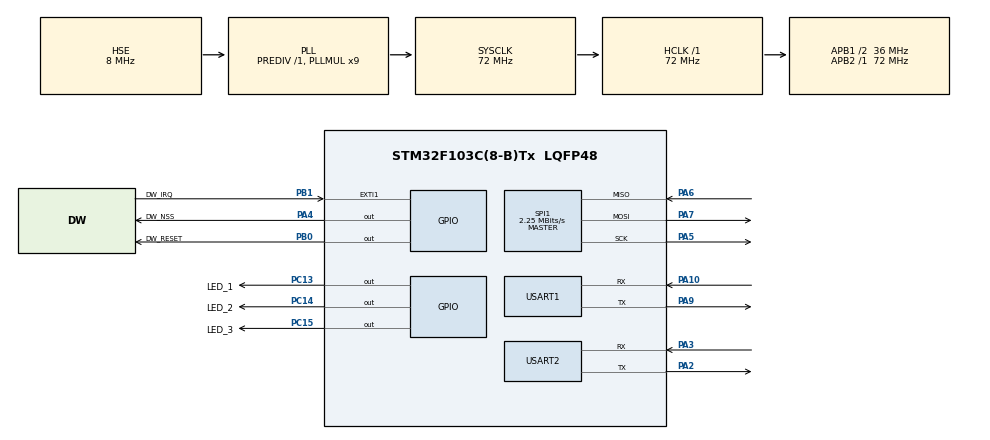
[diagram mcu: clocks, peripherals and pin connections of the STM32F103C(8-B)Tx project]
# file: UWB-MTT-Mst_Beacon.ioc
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Dma.Request0=USART1_TX
Dma.Request1=USART2_TX
Dma.USART1_TX.0.Direction=DMA_MEMORY_TO_PERIPH
Dma.USART1_TX.0.Instance=DMA1_Channel4
Dma.USART1_TX.0.MemDataAlignment=DMA_MDATAALIGN_BYTE
Dma.USART1_TX.0.MemInc=DMA_MINC_ENABLE
Dma.USART1_TX.0.Mode=DMA_NORMAL
Dma.USART1_TX.0.PeriphDataAlignment=DMA_PDATAALIGN_BYTE
Dma.USART1_TX.0.PeriphInc=DMA_PINC_DISABLE
Dma.USART1_TX.0.Priority=DMA_PRIORITY_LOW
Dma.USART2_TX.1.Direction=DMA_MEMORY_TO_PERIPH
Dma.USART2_TX.1.Instance=DMA1_Channel7
Dma.USART2_TX.1.MemDataAlignment=DMA_MDATAALIGN_BYTE
Dma.USART2_TX.1.MemInc=DMA_MINC_ENABLE
Dma.USART2_TX.1.Mode=DMA_NORMAL
Dma.USART2_TX.1.PeriphDataAlignment=DMA_PDATAALIGN_BYTE
Dma.USART2_TX.1.PeriphInc=DMA_PINC_DISABLE
Dma.USART2_TX.1.Priority=DMA_PRIORITY_MEDIUM
Mcu.Family=STM32F1
Mcu.Name=STM32F103C(8-B)Tx
Mcu.Package=LQFP48
NVIC.DMA1_Channel4_IRQn=true\:0\:0\:false\:false\:true\:false\:true\:true
NVIC.DMA1_Channel7_IRQn=true\:0\:0\:false\:false\:true\:false\:true\:true
NVIC.EXTI1_IRQn=true\:5\:0\:true\:false\:true\:true\:true\:true
NVIC.PriorityGroup=NVIC_PRIORITYGROUP_4
NVIC.USART1_IRQn=true\:0\:0\:false\:false\:true\:true\:true\:true
NVIC.USART2_IRQn=true\:0\:0\:false\:false\:true\:true\:true\:true
PA10.Mode=Asynchronous
PA10.Signal=USART1_RX
PA2.Mode=Asynchronous
PA2.Signal=USART2_TX
PA3.Mode=Asynchronous
PA3.Signal=USART2_RX
PA4.GPIO_Label=DW_NSS
PA4.PinState=GPIO_PIN_SET
PA4.Signal=GPIO_Output
PA5.Mode=Full_Duplex_Master
PA5.Signal=SPI1_SCK
PA6.Mode=Full_Duplex_Master
PA6.Signal=SPI1_MISO
PA7.Mode=Full_Duplex_Master
PA7.Signal=SPI1_MOSI
PA9.Mode=Asynchronous
PA9.Signal=USART1_TX
PB0.GPIO_Label=DW_RESET
PB0.GPIO_ModeDefaultOutputPP=GPIO_MODE_OUTPUT_OD
PB0.GPIO_PuPd=GPIO_NOPULL
PB0.PinState=GPIO_PIN_SET
PB0.Signal=GPIO_Output
PB1.GPIO_Label=DW_IRQ
PB1.GPIO_ModeDefaultEXTI=GPIO_MODE_IT_RISING
PB1.Signal=GPXTI1
PC13-TAMPER-RTC.GPIO_Label=LED_1
PC13-TAMPER-RTC.Signal=GPIO_Output
PC14-OSC32_IN.GPIO_Label=LED_2
PC14-OSC32_IN.Signal=GPIO_Output
PC15-OSC32_OUT.GPIO_Label=LED_3
PC15-OSC32_OUT.Signal=GPIO_Output
PD0-OSC_IN.Mode=HSE-External-Oscillator
PD0-OSC_IN.Signal=RCC_OSC_IN
PD1-OSC_OUT.Mode=HSE-External-Oscillator
PD1-OSC_OUT.Signal=RCC_OSC_OUT
ProjectManager.HeapSize=0x200
ProjectManager.StackSize=0x400
ProjectManager.TargetToolchain=STM32CubeIDE
RCC.AHBFreq_Value=72000000
RCC.APB1CLKDivider=RCC_HCLK_DIV2
RCC.APB1Freq_Value=36000000
RCC.APB1TimFreq_Value=72000000
RCC.APB2Freq_Value=72000000
RCC.APB2TimFreq_Value=72000000
RCC.HCLKFreq_Value=72000000
RCC.PLLMUL=RCC_PLL_MUL9
RCC.PLLSourceVirtual=RCC_PLLSOURCE_HSE
RCC.SYSCLKFreq_VALUE=72000000
RCC.SYSCLKSource=RCC_SYSCLKSOURCE_PLLCLK
RCC.USBFreq_Value=72000000
SPI1.BaudRatePrescaler=SPI_BAUDRATEPRESCALER_32
SPI1.CalculateBaudRate=2.25 MBits/s
SPI1.Direction=SPI_DIRECTION_2LINES
SPI1.Mode=SPI_MODE_MASTER
SPI1.VirtualType=VM_MASTER
TIM2.AutoReloadPreload=TIM_AUTORELOAD_PRELOAD_ENABLE
TIM2.Prescaler=71
USART1.VirtualMode=VM_ASYNC
USART2.VirtualMode=VM_ASYNC
VP_SYS_VS_ND.Mode=No_Debug
VP_TIM2_VS_ClockSourceINT.Mode=Internal
board=custom

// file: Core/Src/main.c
/* USER CODE BEGIN Header */
/**
  ******************************************************************************
  * @file           : main.c
  * @brief          : Main program body
  ******************************************************************************
  * @attention
  *
  * Copyright (c) 2026 STMicroelectronics.
  * All rights reserved.
  *
  * This software is licensed under terms that can be found in the LICENSE file
  * in the root directory of this software component.
  * If no LICENSE file comes with this software, it is provided AS-IS.
  *
  ******************************************************************************
  */
/* USER CODE END Header */
#include "main.h"

/* USER CODE BEGIN Includes */
#include "uwb_app.h"

/* USER CODE END Includes */

SPI_HandleTypeDef hspi1;

TIM_HandleTypeDef htim2;

UART_HandleTypeDef huart1;
UART_HandleTypeDef huart2;
DMA_HandleTypeDef hdma_usart1_tx;
DMA_HandleTypeDef hdma_usart2_tx;

void SystemClock_Config(void);
static void MX_GPIO_Init(void);
static void MX_DMA_Init(void);
static void MX_SPI1_Init(void);
static void MX_USART2_UART_Init(void);
static void MX_USART1_UART_Init(void);
static void MX_TIM2_Init(void);

/* USER CODE BEGIN 0 */

/*------------------------------------------------------------------------
 * @brief: 	UWB RX good frame event callback function
 * @param:
			*cb_data: Pointer to callback data
 -----------------------------------------------------------------------*/
void rx_ok_cb(const dwt_cb_data_t *cb_data) {

	uint32_t frame_len = cb_data->datalength;

	if (frame_len > sizeof(uwb_msg_frame_t)) {
		dwt_rxenable(DWT_START_RX_IMMEDIATE | DWT_NO_SYNC_PTRS);
		return;
	}

	uint8_t rx_buffer[64];
	dwt_readrxdata(rx_buffer, frame_len, 0);
	uwb_msg_frame_t *rx_frame = (uwb_msg_frame_t *)rx_buffer;
	uint8_t func_code = rx_frame->payload[0];

	#if (CURRENT_NODE_TYPE == TYPE_TAG)
		tag_rx_handler(rx_frame, func_code);
	#elif (CURRENT_NODE_TYPE == TYPE_SLAVE)
		slv_rx_handler(rx_frame, func_code);
	#elif (CURRENT_NODE_TYPE == TYPE_MASTER)
		mst_rx_handler(rx_frame, func_code);
	#endif
}

/*------------------------------------------------------------------------
 * @brief: 	UWB RX timeout/RX error callback function
 * @param:
			*cb_data: Pointer to callback data
 -----------------------------------------------------------------------*/
void rx_err_cb(const dwt_cb_data_t *cb_data) {
	// Clear the error flags
	dwt_write32bitreg(SYS_STATUS_ID, SYS_STATUS_ALL_RX_ERR);
	dwt_write32bitreg(SYS_STATUS_ID, SYS_STATUS_ALL_RX_TO);
    // Reset RX
	dwt_forcetrxoff();
	dwt_rxreset();
    dwt_rxenable(DWT_START_RX_IMMEDIATE);
}
/* USER CODE END 0 */

int main(void)
{

  /* MCU Configuration--------------------------------------------------------*/

  /* Reset of all peripherals, Initializes the Flash interface and the Systick. */
  HAL_Init();

  /* Configure the system clock */
  SystemClock_Config();

  /* Initialize all configured peripherals */
  MX_GPIO_Init();
  MX_DMA_Init();
  MX_SPI1_Init();
  MX_USART2_UART_Init();
  MX_USART1_UART_Init();
  MX_TIM2_Init();
  /* USER CODE BEGIN 2 */

  // Initialise Timer 2
  HAL_TIM_Base_Start(&htim2);

  Reset_DW1000();

  char msg_buffer[100];

  // Set hspi1 clock to 2.25MHz -> Safety DW1000 init (User manual)
  port_set_dw1000_slowrate(&hspi1);

  if (dwt_initialise(DWT_LOADUCODE) == DWT_SUCCESS){
	  // Init OK
	  sprintf(msg_buffer, "INIT OK! Device ID: 0x%08lX\r\n", dwt_readdevid());
	  debug_print(msg_buffer);
  } else {
	  // Init Fail
	  sprintf(msg_buffer, "INIT FAILED! Device ID: 0x%08lX\r\n", dwt_readdevid());
	  debug_print(msg_buffer);

	  while(1) {
		  HAL_GPIO_TogglePin(GPIOC, GPIO_PIN_13); // Error Blinky
		  HAL_Delay(500);
	  }
  }

  // Set hspi1 clock to 18MHz
  port_set_dw1000_fastrate(&hspi1);

  // Configure DW1000 Hardware and RF transceiver
  dwt_configure(&uwb_cfg.config);
  dwt_configuretxrf(&uwb_cfg.tx_config);

  dwt_setrxantennadelay(uwb_cfg.ant_dly_rx);
  dwt_settxantennadelay(uwb_cfg.ant_dly_tx);

  // Delay POLL_TX_TO_RESP_RX_DLY_UUS between frames
  dwt_setrxaftertxdelay(POLL_TX_TO_RESP_RX_DLY_UUS);
//  dwt_setrxaftertxdelay(0);

  // Setup DW1000 RX Callback
  dwt_setcallbacks(NULL, rx_ok_cb, rx_err_cb, rx_err_cb);
  dwt_setinterrupt(DWT_INT_RFCG | DWT_INT_RPHE | DWT_INT_RFCE | DWT_INT_RFSL | DWT_INT_SFDT, 1);
  dwt_setrxtimeout(0);

  // Node Initialization
	#if (CURRENT_NODE_TYPE == TYPE_TAG)
	#elif (CURRENT_NODE_TYPE == TYPE_SLAVE)
		slv_beacon_init();
	#elif (CURRENT_NODE_TYPE == TYPE_MASTER)
		mst_beacon_init();
	#endif

  /* USER CODE END 2 */

  /* Infinite loop */
  /* USER CODE BEGIN WHILE */
  while (1)
  {
	#if (CURRENT_NODE_TYPE == TYPE_TAG)
        tag_loop();
	#elif (CURRENT_NODE_TYPE == TYPE_SLAVE)
	   	slv_beacon_loop();
	#elif (CURRENT_NODE_TYPE == TYPE_MASTER)
		mst_beacon_loop();
	#endif

    /* USER CODE END WHILE */

  }
}

void SystemClock_Config(void)
{
  RCC_OscInitTypeDef RCC_OscInitStruct = {0};
  RCC_ClkInitTypeDef RCC_ClkInitStruct = {0};

  /** Initializes the RCC Oscillators according to the specified parameters
  * in the RCC_OscInitTypeDef structure.
  */
  RCC_OscInitStruct.OscillatorType = RCC_OSCILLATORTYPE_HSE;
  RCC_OscInitStruct.HSEState = RCC_HSE_ON;
  RCC_OscInitStruct.HSEPredivValue = RCC_HSE_PREDIV_DIV1;
  RCC_OscInitStruct.HSIState = RCC_HSI_ON;
  RCC_OscInitStruct.PLL.PLLState = RCC_PLL_ON;
  RCC_OscInitStruct.PLL.PLLSource = RCC_PLLSOURCE_HSE;
  RCC_OscInitStruct.PLL.PLLMUL = RCC_PLL_MUL9;
  if (HAL_RCC_OscConfig(&RCC_OscInitStruct) != HAL_OK)
  {
    Error_Handler();
  }

  /** Initializes the CPU, AHB and APB buses clocks
  */
  RCC_ClkInitStruct.ClockType = RCC_CLOCKTYPE_HCLK|RCC_CLOCKTYPE_SYSCLK
                              |RCC_CLOCKTYPE_PCLK1|RCC_CLOCKTYPE_PCLK2;
  RCC_ClkInitStruct.SYSCLKSource = RCC_SYSCLKSOURCE_PLLCLK;
  RCC_ClkInitStruct.AHBCLKDivider = RCC_SYSCLK_DIV1;
  RCC_ClkInitStruct.APB1CLKDivider = RCC_HCLK_DIV2;
  RCC_ClkInitStruct.APB2CLKDivider = RCC_HCLK_DIV1;

  if (HAL_RCC_ClockConfig(&RCC_ClkInitStruct, FLASH_LATENCY_2) != HAL_OK)
  {
    Error_Handler();
  }
}

static void MX_SPI1_Init(void)
{

  /* SPI1 parameter configuration*/
  hspi1.Instance = SPI1;
  hspi1.Init.Mode = SPI_MODE_MASTER;
  hspi1.Init.Direction = SPI_DIRECTION_2LINES;
  hspi1.Init.DataSize = SPI_DATASIZE_8BIT;
  hspi1.Init.CLKPolarity = SPI_POLARITY_LOW;
  hspi1.Init.CLKPhase = SPI_PHASE_1EDGE;
  hspi1.Init.NSS = SPI_NSS_SOFT;
  hspi1.Init.BaudRatePrescaler = SPI_BAUDRATEPRESCALER_32;
  hspi1.Init.FirstBit = SPI_FIRSTBIT_MSB;
  hspi1.Init.TIMode = SPI_TIMODE_DISABLE;
  hspi1.Init.CRCCalculation = SPI_CRCCALCULATION_DISABLE;
  hspi1.Init.CRCPolynomial = 10;
  if (HAL_SPI_Init(&hspi1) != HAL_OK)
  {
    Error_Handler();
  }

}

static void MX_TIM2_Init(void)
{

  TIM_ClockConfigTypeDef sClockSourceConfig = {0};
  TIM_MasterConfigTypeDef sMasterConfig = {0};

  htim2.Instance = TIM2;
  htim2.Init.Prescaler = 71;
  htim2.Init.CounterMode = TIM_COUNTERMODE_UP;
  htim2.Init.Period = 65535;
  htim2.Init.ClockDivision = TIM_CLOCKDIVISION_DIV1;
  htim2.Init.AutoReloadPreload = TIM_AUTORELOAD_PRELOAD_ENABLE;
  if (HAL_TIM_Base_Init(&htim2) != HAL_OK)
  {
    Error_Handler();
  }
  sClockSourceConfig.ClockSource = TIM_CLOCKSOURCE_INTERNAL;
  if (HAL_TIM_ConfigClockSource(&htim2, &sClockSourceConfig) != HAL_OK)
  {
    Error_Handler();
  }
  sMasterConfig.MasterOutputTrigger = TIM_TRGO_RESET;
  sMasterConfig.MasterSlaveMode = TIM_MASTERSLAVEMODE_DISABLE;
  if (HAL_TIMEx_MasterConfigSynchronization(&htim2, &sMasterConfig) != HAL_OK)
  {
    Error_Handler();
  }

}

static void MX_USART1_UART_Init(void)
{

  huart1.Instance = USART1;
  huart1.Init.BaudRate = 115200;
  huart1.Init.WordLength = UART_WORDLENGTH_8B;
  huart1.Init.StopBits = UART_STOPBITS_1;
  huart1.Init.Parity = UART_PARITY_NONE;
  huart1.Init.Mode = UART_MODE_TX_RX;
  huart1.Init.HwFlowCtl = UART_HWCONTROL_NONE;
  huart1.Init.OverSampling = UART_OVERSAMPLING_16;
  if (HAL_UART_Init(&huart1) != HAL_OK)
  {
    Error_Handler();
  }

}

static void MX_USART2_UART_Init(void)
{

  huart2.Instance = USART2;
  huart2.Init.BaudRate = 115200;
  huart2.Init.WordLength = UART_WORDLENGTH_8B;
  huart2.Init.StopBits = UART_STOPBITS_1;
  huart2.Init.Parity = UART_PARITY_NONE;
  huart2.Init.Mode = UART_MODE_TX_RX;
  huart2.Init.HwFlowCtl = UART_HWCONTROL_NONE;
  huart2.Init.OverSampling = UART_OVERSAMPLING_16;
  if (HAL_UART_Init(&huart2) != HAL_OK)
  {
    Error_Handler();
  }

}

static void MX_DMA_Init(void)
{

  /* DMA controller clock enable */
  __HAL_RCC_DMA1_CLK_ENABLE();

  /* DMA interrupt init */
  /* DMA1_Channel4_IRQn interrupt configuration */
  HAL_NVIC_SetPriority(DMA1_Channel4_IRQn, 0, 0);
  HAL_NVIC_EnableIRQ(DMA1_Channel4_IRQn);
  /* DMA1_Channel7_IRQn interrupt configuration */
  HAL_NVIC_SetPriority(DMA1_Channel7_IRQn, 0, 0);
  HAL_NVIC_EnableIRQ(DMA1_Channel7_IRQn);

}

static void MX_GPIO_Init(void)
{
  GPIO_InitTypeDef GPIO_InitStruct = {0};

  /* GPIO Ports Clock Enable */
  __HAL_RCC_GPIOC_CLK_ENABLE();
  __HAL_RCC_GPIOD_CLK_ENABLE();
  __HAL_RCC_GPIOA_CLK_ENABLE();
  __HAL_RCC_GPIOB_CLK_ENABLE();

  /*Configure GPIO pin Output Level */
  HAL_GPIO_WritePin(GPIOC, LED_1_Pin|LED_2_Pin|LED_3_Pin, GPIO_PIN_RESET);

  /*Configure GPIO pin Output Level */
  HAL_GPIO_WritePin(DW_NSS_GPIO_Port, DW_NSS_Pin, GPIO_PIN_SET);

  /*Configure GPIO pin Output Level */
  HAL_GPIO_WritePin(DW_RESET_GPIO_Port, DW_RESET_Pin, GPIO_PIN_SET);

  /*Configure GPIO pins : LED_1_Pin LED_2_Pin LED_3_Pin */
  GPIO_InitStruct.Pin = LED_1_Pin|LED_2_Pin|LED_3_Pin;
  GPIO_InitStruct.Mode = GPIO_MODE_OUTPUT_PP;
  GPIO_InitStruct.Pull = GPIO_NOPULL;
  GPIO_InitStruct.Speed = GPIO_SPEED_FREQ_LOW;
  HAL_GPIO_Init(GPIOC, &GPIO_InitStruct);

  /*Configure GPIO pin : DW_NSS_Pin */
  GPIO_InitStruct.Pin = DW_NSS_Pin;
  GPIO_InitStruct.Mode = GPIO_MODE_OUTPUT_PP;
  GPIO_InitStruct.Pull = GPIO_NOPULL;
  GPIO_InitStruct.Speed = GPIO_SPEED_FREQ_LOW;
  HAL_GPIO_Init(DW_NSS_GPIO_Port, &GPIO_InitStruct);

  /*Configure GPIO pin : DW_RESET_Pin */
  GPIO_InitStruct.Pin = DW_RESET_Pin;
  GPIO_InitStruct.Mode = GPIO_MODE_OUTPUT_OD;
  GPIO_InitStruct.Pull = GPIO_NOPULL;
  GPIO_InitStruct.Speed = GPIO_SPEED_FREQ_LOW;
  HAL_GPIO_Init(DW_RESET_GPIO_Port, &GPIO_InitStruct);

  /*Configure GPIO pin : DW_IRQ_Pin */
  GPIO_InitStruct.Pin = DW_IRQ_Pin;
  GPIO_InitStruct.Mode = GPIO_MODE_IT_RISING;
  GPIO_InitStruct.Pull = GPIO_NOPULL;
  HAL_GPIO_Init(DW_IRQ_GPIO_Port, &GPIO_InitStruct);

  /* EXTI interrupt init*/
  HAL_NVIC_SetPriority(EXTI1_IRQn, 5, 0);
  HAL_NVIC_EnableIRQ(EXTI1_IRQn);

}

/* USER CODE BEGIN 4 */

void HAL_GPIO_EXTI_Callback(uint16_t GPIO_Pin)
{
    if (GPIO_Pin == DW_IRQ_Pin)
    {
    	// Forward to DW1000 RX callback handler
        dwt_isr();
    }
}

/* USER CODE END 4 */

void Error_Handler(void)
{
  __disable_irq();
  while (1)
  {
  }
}
